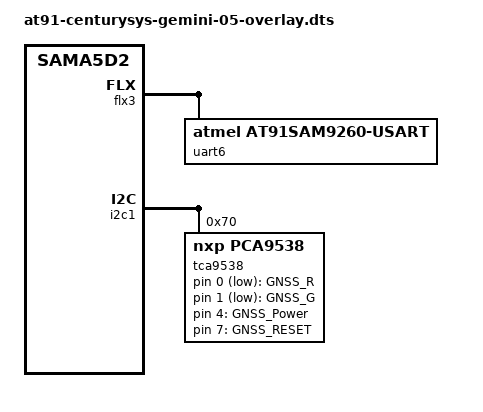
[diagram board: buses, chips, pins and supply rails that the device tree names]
// SPDX-License-Identifier: (GPL-2.0+ OR MIT)
/*
 * at91-centurysys-gemini-05-overlay.dts - Device Tree Overlay file (xio_id: 0x03)
 *                                           for Century Systems Gemini board
 *
 *  Copyright (C) 2022 Century Systems
 *                     Takeyoshi Kikuchi <kikuchi@centurysys.co.jp>
 */

/dts-v1/;
/plugin/;
#include "sama5d2-pinfunc.h"
#include <dt-bindings/dma/at91.h>
#include <dt-bindings/interrupt-controller/irq.h>
#include <dt-bindings/clock/at91.h>
#include <dt-bindings/mfd/atmel-flexcom.h>
#include <dt-bindings/pinctrl/at91.h>
#include <dt-bindings/gpio/gpio.h>

/ {
	compatible = "atmel,sama5d2-gemini", "atmel,sama5d2", "atmel,sama5";

	fragment@0 {
		target = <&pioA>;
		__overlay__ {
			pinctrl_flx3_uart_default: flx3_usart_default {
				pinmux = <PIN_PC20__FLEXCOM3_IO0>, //TX
					 <PIN_PC19__FLEXCOM3_IO1>; //RX
				bias-disable;
			};
		};
	};

	fragment@1 {
		target = <&flx3>;
		__overlay__ {
			atmel,flexcom-mode = <ATMEL_FLEXCOM_MODE_USART>;
			#address-cells = <1>;
			#size-cells = <1>;
			status = "okay";

			uart6: serial@200 {
				compatible = "atmel,at91sam9260-usart";
				reg = <0x200 0x200>;
				interrupt-parent = <&aic>;
				interrupts = <22 IRQ_TYPE_LEVEL_HIGH 7>;
				dmas = <&dma0
					(AT91_XDMAC_DT_MEM_IF(0) | AT91_XDMAC_DT_PER_IF(1)
					| AT91_XDMAC_DT_PERID(17))>,
				       <&dma0
					(AT91_XDMAC_DT_MEM_IF(0) | AT91_XDMAC_DT_PER_IF(1)
					| AT91_XDMAC_DT_PERID(18))>;
				dma-names = "tx", "rx";
				clocks = <&pmc PMC_TYPE_PERIPHERAL 22>;
				clock-names = "usart";
				pinctrl-names = "default";
				pinctrl-0 = <&pinctrl_flx3_uart_default>;
				atmel,fifo-size = <32>;
				atmel,use-dma-rx;
				atmel,use-dma-tx;
				status = "okay";
			};
		};
	};

	fragment@2 {
		target = <&i2c1>;
		__overlay__ {
			#address-cells = <1>;
			#size-cells = <0>;

			/* GNSS Option (xio_id: 5) */
			tca9538: tca9538@70 {
				compatible = "nxp,pca9538";
				reg = <0x70>;
				#address-cells = <1>;
				#size-cells = <0>;
				#gpio-cells = <2>;

				gpio-line-names = "GNSS_LED_R",
						  "GNSS_LED_G",
						  "Reserved2",
						  "Reserved3",
						  "GNSS_Power",
						  "Reserved5",
						  "Reserved6",
						  "GNSS_Reset";
			};
		};
	};

	fragment@4 {
		target = <&leds>;
		__overlay__ {
			tca953x_gnss_red {
				label = "GNSS_R";
				gpios = <&tca9538 0 GPIO_ACTIVE_LOW>;
			};

			tca953x_gnss_green {
				label = "GNSS_G";
				gpios = <&tca9538 1 GPIO_ACTIVE_LOW>;
			};

			tca953x_gnss_power {
				label = "GNSS_Power";
				gpios = <&tca9538 4 GPIO_ACTIVE_HIGH>;
			};

			tca953x_gnss_reset {
				label = "GNSS_RESET";
				gpios = <&tca9538 7 GPIO_ACTIVE_HIGH>;
				linux,default-trigger = "oneshot";
				led-pattern = <100 100>;
				default-state = "off";
			};
		};
	};
};
